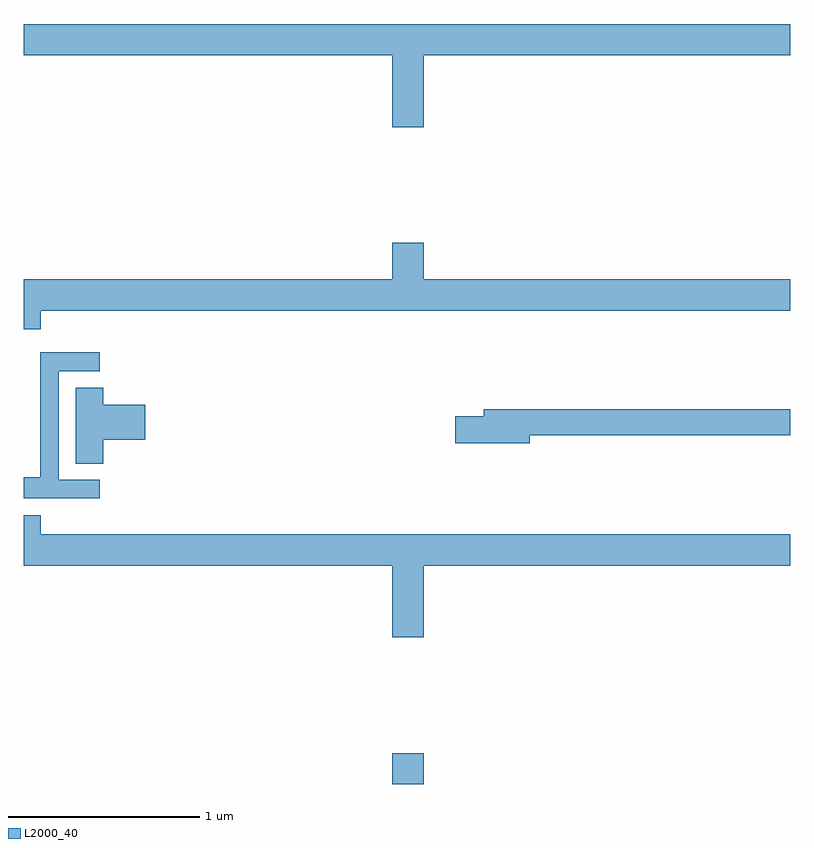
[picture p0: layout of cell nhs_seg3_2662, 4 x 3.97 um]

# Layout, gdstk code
import gdstk
lib = gdstk.Library(unit=1e-6, precision=1e-09)
def R(c, l, rs):  # rectangles x0, y0, x1, y1
    for r in rs: c.add(gdstk.rectangle(r[:2], r[2:], *l))
def P(c, l, *ps):  # polygons
    for p in ps: c.add(gdstk.Polygon(p, *l))
L2000_40 = (2000, 40)

nhs_seg3_2662 = lib.new_cell('nhs_seg3_2662')
R(nhs_seg3_2662, L2000_40, [(248.924,742.4,249.088,742.561)])
P(nhs_seg3_2662, L2000_40, [(249.088,746.204),(251,746.204),(251,746.368),(247,746.368),(247,746.204),(248.924,746.204),(248.924,745.83),(249.088,745.83)],
  [(247.088,744.872),(251,744.872),(251,745.036),(249.088,745.036),(249.088,745.225),(248.924,745.225),(248.924,745.036),(247,745.036),(247,744.773),(247.088,744.773)],
  [(247.396,743.988),(247.182,743.988),(247.182,744.555),(247.396,744.555),(247.396,744.654),(247.086,744.654),(247.086,744.224),(247.084,744.224),(247.084,744.001),(247,744.001),(247,743.892),(247.396,743.892)],
  [(247.415,744.197),(247.633,744.197),(247.633,744.38),(247.415,744.38),(247.415,744.47),(247.271,744.47),(247.271,744.073),(247.415,744.073)],
  [(249.64,744.22),(251,744.22),(251,744.356),(249.401,744.356),(249.401,744.32),(249.252,744.32),(249.252,744.178),(249.64,744.178)],
  [(249.088,743.54),(251,743.54),(251,743.704),(247.088,743.704),(247.088,743.803),(247,743.803),(247,743.54),(248.924,743.54),(248.924,743.166),(249.088,743.166)])

lib.write_gds('nhs_seg3_2662.gds')
